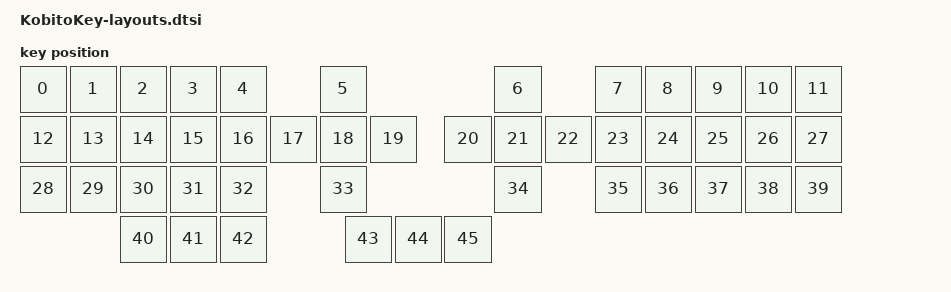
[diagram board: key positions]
#include <physical_layouts.dtsi>

/ {
    /* キーボード全体の物理レイアウト（名前は任意） */
    kobitokey_layout: physical_layout_0 {
        compatible = "zmk,physical-layout";
        display-name = "KobitoKey Default";

        /* 必須：キー位置。順番は keymap のバインディング順と一致させる */
        /* ここでは 4行×10列（=合計40キー）を 1u グリッドで仮定 */
        /* 書式: <&key_physical_attrs  width height   x    y   rot  rx  ry> 単位は「キー単位(1u=100)」 */
        keys =
            /* Row 0 (y=0) */
              <&key_physical_attrs 100 100    0    0   0   0   0>
            , <&key_physical_attrs 100 100  100    0   0   0   0>
            , <&key_physical_attrs 100 100  200    0   0   0   0>
            , <&key_physical_attrs 100 100  300    0   0   0   0>
            , <&key_physical_attrs 100 100  400    0   0   0   0>
            , <&key_physical_attrs 100 100  600    0   0   0   0>

            , <&key_physical_attrs 100 100  950    0   0   0   0>
            , <&key_physical_attrs 100 100  1150    0   0   0   0>
            , <&key_physical_attrs 100 100  1250    0   0   0   0>
            , <&key_physical_attrs 100 100  1350    0   0   0   0>
            , <&key_physical_attrs 100 100  1450    0   0   0   0>
            , <&key_physical_attrs 100 100  1550    0   0   0   0>
            /* Row 1 (y=100) */
            , <&key_physical_attrs 100 100    0  100   0   0   0>
            , <&key_physical_attrs 100 100  100  100   0   0   0>
            , <&key_physical_attrs 100 100  200  100   0   0   0>
            , <&key_physical_attrs 100 100  300  100   0   0   0>
            , <&key_physical_attrs 100 100  400  100   0   0   0>
            , <&key_physical_attrs 100 100  500  100   0   0   0>
            , <&key_physical_attrs 100 100  600  100   0   0   0>
            , <&key_physical_attrs 100 100  700  100   0   0   0>

            , <&key_physical_attrs 100 100  850  100   0   0   0>
            , <&key_physical_attrs 100 100  950  100   0   0   0>
            , <&key_physical_attrs 100 100  1050  100   0   0   0>
            , <&key_physical_attrs 100 100  1150  100   0   0   0>
            , <&key_physical_attrs 100 100  1250  100   0   0   0>
            , <&key_physical_attrs 100 100  1350  100   0   0   0>
            , <&key_physical_attrs 100 100  1450  100   0   0   0>
            , <&key_physical_attrs 100 100  1550  100   0   0   0>
            /* Row 2 (y=200) */
            , <&key_physical_attrs 100 100    0  200   0   0   0>
            , <&key_physical_attrs 100 100  100  200   0   0   0>
            , <&key_physical_attrs 100 100  200  200   0   0   0>
            , <&key_physical_attrs 100 100  300  200   0   0   0>
            , <&key_physical_attrs 100 100  400  200   0   0   0>
            , <&key_physical_attrs 100 100  600  200   0   0   0>

            , <&key_physical_attrs 100 100  950  200   0   0   0>
            , <&key_physical_attrs 100 100  1150  200   0   0   0>
            , <&key_physical_attrs 100 100  1250  200   0   0   0>
            , <&key_physical_attrs 100 100  1350  200   0   0   0>
            , <&key_physical_attrs 100 100  1450  200   0   0   0>
            , <&key_physical_attrs 100 100  1550  200   0   0   0>
            /* Row 3 (y=300) */
            , <&key_physical_attrs 100 100  200  300   0   0   0>
            , <&key_physical_attrs 100 100  300  300   0   0   0>
            , <&key_physical_attrs 100 100  400  300   0   0   0>

            , <&key_physical_attrs 100 100  650  300   0   0   0>
            , <&key_physical_attrs 100 100  750  300   0   0   0>
            , <&key_physical_attrs 100 100  850  300   0   0   0>
            ;
    };
};
